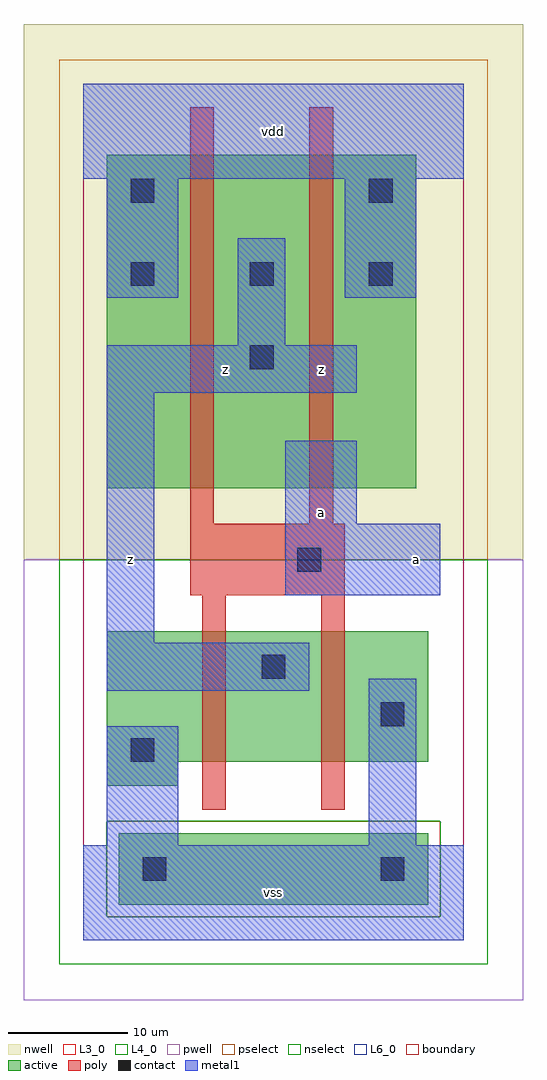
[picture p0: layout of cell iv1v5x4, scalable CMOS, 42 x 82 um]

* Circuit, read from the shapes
.subckt iv1v5x4 a vdd vss z
M1 z a vss vss nfet w=11u l=2u m=2
M2 z a vdd n1 pfet w=28u l=2u m=2
.ends

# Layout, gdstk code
import gdstk
lib = gdstk.Library(unit=1e-6, precision=1e-09)
def R(c, l, rs):  # rectangles x0, y0, x1, y1
    for r in rs: c.add(gdstk.rectangle(r[:2], r[2:], *l))
def A(c, l, x, y, w, h, nx, ny, dx, dy):  # array of equal rectangles
    R(c, l, [(x+i*dx, y+j*dy, x+i*dx+w, y+j*dy+h) for i in range(nx) for j in range(ny)])
L3_0 = (3, 0)
L4_0 = (4, 0)
L6_0 = (6, 0)
contact = (25, 0)
pwell = (41, 0)
nwell = (42, 0)
active = (43, 0)
pselect = (44, 0)
nselect = (45, 0)
poly = (46, 0)
metal1 = (49, 0)
boundary = (63, 0)

iv1v5x4 = lib.new_cell('iv1v5x4')
R(iv1v5x4, L3_0, [(2,13,8,15), (2,15,29,26)])
R(iv1v5x4, L4_0, [(2,38,28,66)])
R(iv1v5x4, L6_0, [(3,3,29,9)])
A(iv1v5x4, contact, 4, 55, 2, 2, 3, 1, 10, 0)
R(iv1v5x4, contact, [(5,5,7,7), (25,5,27,7), (4,15,6,17), (25,18,27,20), (15,22,17,24), (18,31,20,33), (14,48,16,50), (4,62,6,64), (24,62,26,64)])
R(iv1v5x4, pwell, [(-5,-5,37,32)])
R(iv1v5x4, nwell, [(-5,32,37,77)])
R(iv1v5x4, active, [(3,3,29,9), (2,13,8,15), (2,15,29,26), (2,38,28,66)])
R(iv1v5x4, pselect, [(2,2,30,10), (-2,32,34,74)])
R(iv1v5x4, nselect, [(-2,-2,34,2), (-2,2,2,10), (30,2,34,10), (-2,10,34,32)])
R(iv1v5x4, poly, [(10,11,12,29), (20,11,22,29), (9,29,22,35), (9,35,11,70), (19,35,21,70)])
R(iv1v5x4, metal1, [(0,0,32,8), (2,8,8,18), (24,8,28,22), (2,21,19,25), (2,25,6,46), (17,29,30,35), (17,35,23,42), (2,46,23,50), (13,50,17,59), (2,54,8,64), (22,54,28,64), (0,64,32,72)])
R(iv1v5x4, boundary, [(0,0,32,72)])
iv1v5x4.add(gdstk.Label('z', (4,32), layer=49, texttype=0))
iv1v5x4.add(gdstk.Label('z', (12,48), layer=49, texttype=0))
iv1v5x4.add(gdstk.Label('vss', (16,4), layer=49, texttype=0))
iv1v5x4.add(gdstk.Label('a', (20,36), layer=49, texttype=0))
iv1v5x4.add(gdstk.Label('z', (20,48), layer=49, texttype=0))
iv1v5x4.add(gdstk.Label('vdd', (16,68), layer=49, texttype=0))
iv1v5x4.add(gdstk.Label('a', (28,32), layer=49, texttype=0))

lib.write_gds('iv1v5x4.gds')
